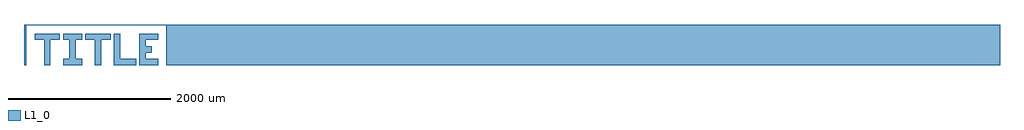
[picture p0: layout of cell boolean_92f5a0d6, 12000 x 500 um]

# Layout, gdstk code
import gdstk
lib = gdstk.Library(unit=1e-6, precision=1e-09)
def P(c, l, *ps):  # polygons
    for p in ps: c.add(gdstk.Polygon(p, *l))
L1_0 = (1, 0)

boolean_92f5a0d6 = lib.new_cell('boolean_92f5a0d6')
P(boolean_92f5a0d6, L1_0, [(1751,240),(1751,-250),(12000,-250),(12000,250),(0,250),(0,-250),(30,-250),(30,240)],
  [(1651,-172),(1495,-172),(1495,-94),(1573,-94),(1573,-16),(1495,-16),(1495,62),(1651,62),(1651,140),(1417,140),(1417,-250),(1651,-250)],
  [(481,140),(481,62),(559,62),(559,-172),(481,-172),(481,-250),(715,-250),(715,-172),(637,-172),(637,62),(715,62),(715,140)],
  [(1378,-172),(1183,-172),(1183,140),(1105,140),(1105,-250),(1378,-250)],
  [(871,-250),(949,-250),(949,62),(1066,62),(1066,140),(754,140),(754,62),(871,62)],
  [(247,-250),(325,-250),(325,62),(442,62),(442,140),(130,140),(130,62),(247,62)])

lib.write_gds('boolean_92f5a0d6.gds')
